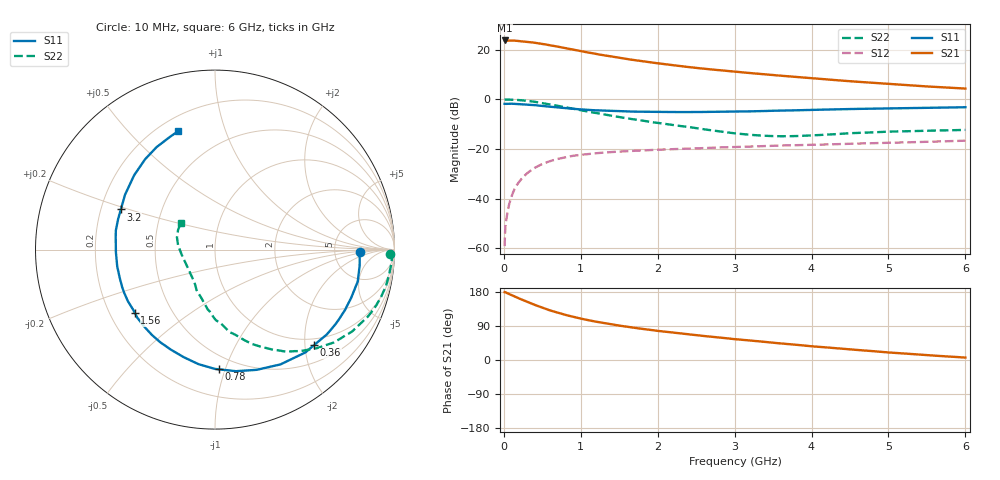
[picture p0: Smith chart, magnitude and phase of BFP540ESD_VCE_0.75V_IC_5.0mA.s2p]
! Infineon Technologies  Discrete & RF Semiconductors
! BFP540ESD
! VCE = 0.75 V,  IC =  5.0 mA
! Common Emitter S-Parameters:  Nov 2015
# GHz  S  MA  R  50
!  f  S11  S21  S12  S22
! GHz  MAG  ANG  MAG  ANG  MAG  ANG  MAG  ANG
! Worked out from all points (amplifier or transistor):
!   210 points, 10 MHz to 6 GHz, reference 50 ohm
!   highest |S21| = 23.7 dB at 10 MHz (marker M1)
!   |S21| within 3 dB of that: start of sweep to 785.4 MHz
!   unconditionally stable (mu >= 1): 3.333 GHz to end of sweep
!   at 185 MHz: K = 0.06, MSG = 28.7 dB, |S12| = -33.9 dB
!   at 1.52 GHz: K = 0.51, MSG = 18.8 dB, |S12| = -21.1 dB
!   at 6 GHz: K = 1.24, MAG = 7.6 dB, |S12| = -16.7 dB
!   S11 on the Smith chart (normalised r, x): 10 MHz: 9.41, -0.85; 360 MHz: 0.85, -2.20; 780 MHz: 0.40, -0.95; 1.56 GHz: 0.30, -0.32; 3.2 GHz: 0.28, +0.19; 6 GHz: 0.28, +0.70
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0.01  0.8092 -1.1  15.28 179.1  0.0011 85.2  0.9771 -1.5
0.02  0.807 -2.8  15.11 178.7  0.0027 88.7  0.9885 -1.6
0.04  0.8092 -5.1  15.19 176.7  0.0046 88.7  0.987 -3.2
0.1  0.8149 -12.6  15.23 171.3  0.0111 86.1  0.9804 -8.0
0.15  0.8062 -18.8  15.13 166.8  0.0168 81.0  0.9741 -12.0
0.28  0.7848 -34.6  14.5 155.5  0.03 73.8  0.9371 -22.1
0.36  0.7668 -44.0  13.98 149.0  0.0377 69.0  0.9044 -27.8
0.4  0.7628 -48.7  13.76 145.6  0.0415 67.1  0.89 -30.8
0.5  0.7363 -60.3  13.07 137.9  0.0497 61.9  0.8412 -37.9
0.6  0.7092 -70.8  12.22 130.9  0.0567 56.7  0.7903 -44.0
0.78  0.6675 -88.1  10.86 120.3  0.067 49.9  0.7 -54.1
0.9  0.6448 -98.2  9.979 113.8  0.0728 46.2  0.6451 -59.8
1.02  0.6205 -107.6  9.195 108.5  0.0766 42.7  0.5941 -65.2
1.2  0.5996 -120.6  8.16 101.0  0.0819 38.4  0.5276 -72.3
1.56  0.5692 -141.8  6.602 89.0  0.0891 32.4  0.4229 -84.2
2.02  0.5536 -163.5  5.255 76.4  0.0965 27.4  0.3319 -97.4
2.6  0.5556 175.0  4.123 63.3  0.104 23.3  0.2484 -114.4
3.1  0.5674 159.7  3.481 53.3  0.1103 20.7  0.1988 -130.3
3.2  0.5703 156.9  3.373 51.5  0.1117 20.1  0.1927 -134.5
4.1  0.6155 135.4  2.58 34.7  0.1219 15.0  0.1904 -174.7
5.1  0.6596 118.3  1.994 18.6  0.1336 10.2  0.2243 160.0
6  0.6908 107.3  1.642 6.3  0.1464 6.7  0.2415 142.4
